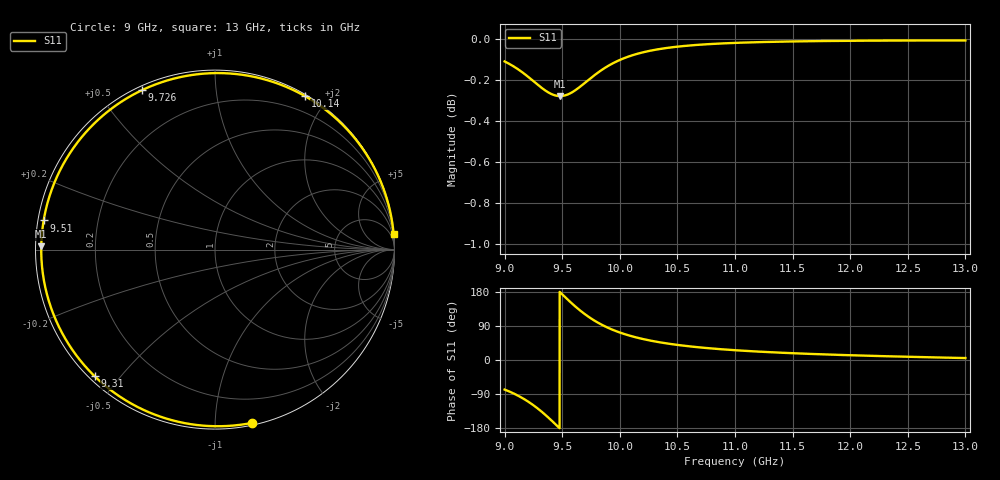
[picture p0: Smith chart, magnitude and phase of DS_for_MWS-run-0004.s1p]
! TOUCHSTONE file generated by CST DESIGN STUDIO
! Date and time: Tue Feb  4 12:28:38 2025
! Project name: C:\Work\MatlabApps\UnitCellOptimizationMatlab\CST\unitcell.cst
! Tree item: Tasks\Sweep1\SPara1\S-Parameters
! Header version: 2024
! Port assignment regex: !\s*Touchstone port\s*([0-9]+)\s*=\s*(CST MWS port|CST DES external port|CST DES block port)\s*(.+)\s* \(\"(.*)\"\)(\s*mode\s*([0-9]+))?.*
! Touchstone port assignment:
! Touchstone port 1 = CST DES external port 1 ("")
# GHz S MA R 50
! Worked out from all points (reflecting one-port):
!   4001 points, 9 GHz to 13 GHz, reference 50 ohm
!   lowest |S11| = -0.3 dB at 9.481 GHz (marker M1), VSWR 62.08, Z = 0.805 + j0.495 ohm
!   phase of S11 starts at -78 deg and turns -277 deg over the sweep
!   S11 on the Smith chart (normalised r, x): 9 GHz: 0.02, -1.23; 9.31 GHz: 0.02, -0.43; 9.51 GHz: 0.02, +0.08; 9.726 GHz: 0.02, +0.64; 10.14 GHz: 0.02, +1.75; 13 GHz: 0, +22
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9  0.9873 -78.0
9.079  0.9845 -88.4
9.177  0.9802 -104.6
9.246  0.9766 -118.5
9.31  0.9733 -133.5
9.355  0.9712 -145.1
9.403  0.9695 -158.4
9.443  0.9686 -170.0
9.481  0.9683 178.9
9.5  0.9684 173.3
9.51  0.9685 170.3
9.562  0.9696 155.4
9.622  0.9718 139.1
9.673  0.9743 126.4
9.726  0.977 114.6
9.781  0.9797 103.7
9.842  0.9825 93.3
9.92  0.9856 82.0
10  0.9881 72.5
10.142  0.9913 59.6
10.304  0.9937 49.0
10.5  0.9955 39.8
10.722  0.9967 32.4
11  0.9976 25.8
11.5  0.9984 17.9
12  0.9987 12.6
12.5  0.9989 8.5
13  0.9989 5.1
